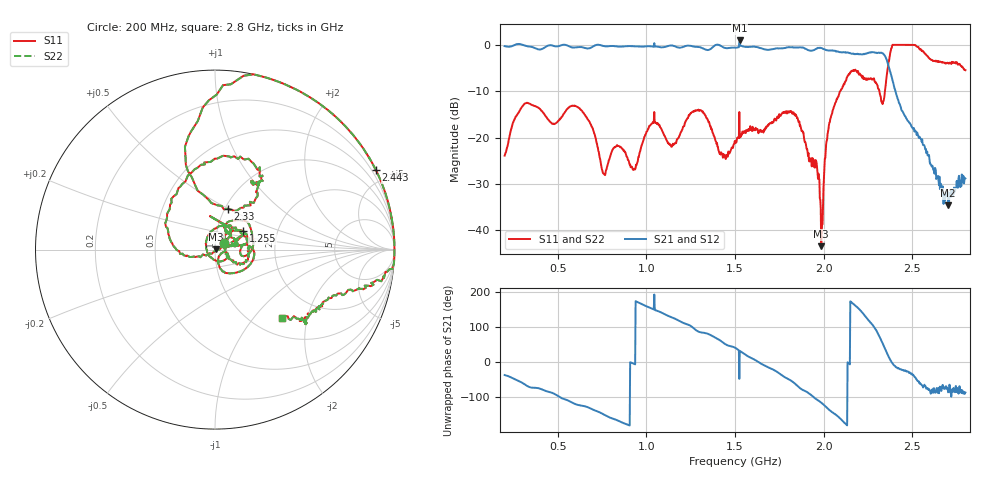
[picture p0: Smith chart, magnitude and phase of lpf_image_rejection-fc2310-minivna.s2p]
! created by azisi at Wed Sep 23 19:51:24 EEST 2020
! generated using vna/J Version 3.4.3
# Hz S DB R 50.0
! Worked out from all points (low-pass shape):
!   1014 points, 200 MHz to 2.8 GHz, reference 50 ohm
!   highest |S21| = 0.94 dB at 1.527 GHz (marker M1); lowest = -34.6 dB at 2.702 GHz (marker M2)
!   |S21| within 3 dB of the highest: start of sweep to 2.212 GHz; 2.218 GHz to 2.339 GHz (121.4 MHz wide, 5.33 % of centre)
!   lowest |S11| = -43.4 dB at 1.986 GHz (marker M3), VSWR 1.01, Z = 50.7 + j0.119 ohm
!   |S11| at or under -10 dB: start of sweep to 2.094 GHz; 2.315 GHz to 2.346 GHz (30.98 MHz wide, 1.33 % of centre)
!   |S22| runs from -43.4 to 0.0 dB; largest |S21 - S12| = 0
!   S11 on the Smith chart (normalised r, x): 200 MHz: 1.11, +0.08; 1.255 GHz: 1.33, +0.28; 2.33 GHz: 1.03, +0.50; 2.443 GHz: -0.00, +4.26; 2.8 GHz: 1.33, -1.41
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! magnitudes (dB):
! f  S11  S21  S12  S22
! 200 MHz  -23.9  -0.3  -0.3  -23.9
! 318.1 MHz  -12.6  -0.2  -0.2  -12.6
! 633.8 MHz  -14.1  -0.5  -0.5  -14.1
! 762.1 MHz  -27.9  -0.3  -0.3  -27.9
! 834 MHz  -21.6  -0.3  -0.3  -21.6
! 934.1 MHz  -26.8  -0.3  -0.3  -26.8
! 1.068 GHz  -17.0  -0.4  -0.4  -17.0
! 1.15 GHz  -21.3  -0.2  -0.2  -21.3
! 1.255 GHz  -14.6  -0.2  -0.2  -14.6
! 1.424 GHz  -23.5  -0.3  -0.3  -23.5
! 1.501 GHz  -21.1  -0.6  -0.6  -21.1
! 1.527 GHz  -20.0  0.9  0.9  -20.0
! 1.82 GHz  -14.4  -0.5  -0.5  -14.4
! 1.935 GHz  -26.0  -1.3  -1.3  -26.0
! 1.986 GHz  -43.4  -0.7  -0.7  -43.4
! 2.035 GHz  -16.7  -1.2  -1.2  -16.7
! 2.143 GHz  -6.4  -1.7  -1.7  -6.4
! 2.33 GHz  -12.4  -1.8  -1.8  -12.4
! 2.369 GHz  -3.5  -4.8  -4.8  -3.5
! 2.443 GHz  0.0  -14.3  -14.3  0.0
! 2.702 GHz  -4.0  -34.6  -34.6  -4.0
! 2.8 GHz  -5.5  -28.8  -28.8  -5.5
